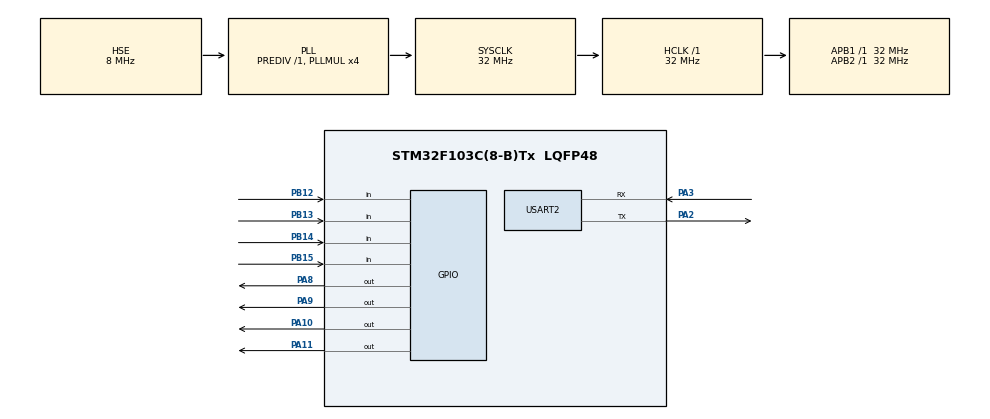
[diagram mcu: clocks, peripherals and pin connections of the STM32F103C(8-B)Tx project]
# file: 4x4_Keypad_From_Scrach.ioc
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Dma.Request0=USART2_RX
Dma.Request1=USART2_TX
Dma.USART2_RX.0.Direction=DMA_PERIPH_TO_MEMORY
Dma.USART2_RX.0.Instance=DMA1_Channel6
Dma.USART2_RX.0.MemDataAlignment=DMA_MDATAALIGN_BYTE
Dma.USART2_RX.0.MemInc=DMA_MINC_ENABLE
Dma.USART2_RX.0.Mode=DMA_NORMAL
Dma.USART2_RX.0.PeriphDataAlignment=DMA_PDATAALIGN_BYTE
Dma.USART2_RX.0.PeriphInc=DMA_PINC_DISABLE
Dma.USART2_RX.0.Priority=DMA_PRIORITY_LOW
Dma.USART2_TX.1.Direction=DMA_MEMORY_TO_PERIPH
Dma.USART2_TX.1.Instance=DMA1_Channel7
Dma.USART2_TX.1.MemDataAlignment=DMA_MDATAALIGN_BYTE
Dma.USART2_TX.1.MemInc=DMA_MINC_ENABLE
Dma.USART2_TX.1.Mode=DMA_NORMAL
Dma.USART2_TX.1.PeriphDataAlignment=DMA_PDATAALIGN_BYTE
Dma.USART2_TX.1.PeriphInc=DMA_PINC_DISABLE
Dma.USART2_TX.1.Priority=DMA_PRIORITY_LOW
Mcu.Family=STM32F1
Mcu.Name=STM32F103C(8-B)Tx
Mcu.Package=LQFP48
NVIC.DMA1_Channel6_IRQn=true\:0\:0\:false\:false\:true\:false\:true
NVIC.DMA1_Channel7_IRQn=true\:0\:0\:false\:false\:true\:false\:true
NVIC.PriorityGroup=NVIC_PRIORITYGROUP_4
PA10.PinState=GPIO_PIN_SET
PA10.Signal=GPIO_Output
PA11.PinState=GPIO_PIN_SET
PA11.Signal=GPIO_Output
PA13.Mode=Serial_Wire
PA13.Signal=SYS_JTMS-SWDIO
PA14.Mode=Serial_Wire
PA14.Signal=SYS_JTCK-SWCLK
PA2.Mode=Asynchronous
PA2.Signal=USART2_TX
PA3.Mode=Asynchronous
PA3.Signal=USART2_RX
PA8.PinState=GPIO_PIN_SET
PA8.Signal=GPIO_Output
PA9.PinState=GPIO_PIN_SET
PA9.Signal=GPIO_Output
PB12.GPIO_PuPd=GPIO_PULLUP
PB12.Signal=GPIO_Input
PB13.GPIO_PuPd=GPIO_PULLUP
PB13.Signal=GPIO_Input
PB14.GPIO_PuPd=GPIO_PULLUP
PB14.Signal=GPIO_Input
PB15.GPIO_PuPd=GPIO_PULLUP
PB15.Signal=GPIO_Input
PD0-OSC_IN.Mode=HSE-External-Oscillator
PD0-OSC_IN.Signal=RCC_OSC_IN
PD1-OSC_OUT.Mode=HSE-External-Oscillator
PD1-OSC_OUT.Signal=RCC_OSC_OUT
ProjectManager.HeapSize=0x200
ProjectManager.StackSize=0x400
ProjectManager.TargetToolchain=MDK-ARM V5.27
RCC.AHBFreq_Value=32000000
RCC.APB1Freq_Value=32000000
RCC.APB1TimFreq_Value=32000000
RCC.APB2Freq_Value=32000000
RCC.APB2TimFreq_Value=32000000
RCC.HCLKFreq_Value=32000000
RCC.PLLMUL=RCC_PLL_MUL4
RCC.PLLSourceVirtual=RCC_PLLSOURCE_HSE
RCC.SYSCLKFreq_VALUE=32000000
RCC.SYSCLKSource=RCC_SYSCLKSOURCE_PLLCLK
RCC.USBFreq_Value=32000000
USART2.VirtualMode=VM_ASYNC
board=custom

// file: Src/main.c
/* USER CODE BEGIN Header */
/**
  ******************************************************************************
  * @file           : main.c
  * @brief          : Main program body
  ******************************************************************************
  * @attention
  *
  * <h2><center>&copy; Copyright (c) 2020 STMicroelectronics.
  * All rights reserved.</center></h2>
  *
  * This software component is licensed by ST under BSD 3-Clause license,
  * the "License"; You may not use this file except in compliance with the
  * License. You may obtain a copy of the License at:
  *                        opensource.org/licenses/BSD-3-Clause
  *
  ******************************************************************************
  */
/* USER CODE END Header */

#include "main.h"

UART_HandleTypeDef huart2;
DMA_HandleTypeDef hdma_usart2_rx;
DMA_HandleTypeDef hdma_usart2_tx;

void SystemClock_Config(void);
static void MX_GPIO_Init(void);
static void MX_DMA_Init(void);
static void MX_USART2_UART_Init(void);

/* USER CODE BEGIN 0 */
	uint8_t Num[16];

/* USER CODE END 0 */

int main(void)
{

  /* MCU Configuration--------------------------------------------------------*/

  /* Reset of all peripherals, Initializes the Flash interface and the Systick. */
  HAL_Init();

  /* Configure the system clock */
  SystemClock_Config();

  /* Initialize all configured peripherals */
  MX_GPIO_Init();
  MX_DMA_Init();
  MX_USART2_UART_Init();

  /* Infinite loop */
  while (1)
  {

    /* USER CODE BEGIN 3 */
		HAL_GPIO_WritePin(GPIOA, GPIO_PIN_8, GPIO_PIN_RESET);
		if(!(HAL_GPIO_ReadPin(GPIOB, GPIO_PIN_12)))
		{
			HAL_Delay(250);
			Num[0] = 0x01;

		}
		if(!(HAL_GPIO_ReadPin(GPIOB, GPIO_PIN_13)))
		{
			HAL_Delay(250);
			Num[1] = 0x05;

		}
		if(!(HAL_GPIO_ReadPin(GPIOB, GPIO_PIN_14)))
		{
			HAL_Delay(250);
			Num[2] = 0x09;

		}
		if(!(HAL_GPIO_ReadPin(GPIOB, GPIO_PIN_15)))
		{
			HAL_Delay(250);
			Num[3] = 0x0D;

		}
		HAL_GPIO_WritePin(GPIOA, GPIO_PIN_8, GPIO_PIN_SET);
		HAL_GPIO_WritePin(GPIOA, GPIO_PIN_9, GPIO_PIN_RESET);
		if(!(HAL_GPIO_ReadPin(GPIOB, GPIO_PIN_12)))
		{
			HAL_Delay(250);
			Num[4] = 0x02;

		}
		if(!(HAL_GPIO_ReadPin(GPIOB, GPIO_PIN_13)))
		{
			HAL_Delay(250);
			Num[5] = 0x06;

		}
		if(!(HAL_GPIO_ReadPin(GPIOB, GPIO_PIN_14)))
		{
			HAL_Delay(250);
			Num[6] = 0x0A;

		}
		if(!(HAL_GPIO_ReadPin(GPIOB, GPIO_PIN_15)))
		{
			HAL_Delay(250);
			Num[7] = 0x2A;

		}
		HAL_GPIO_WritePin(GPIOA, GPIO_PIN_9, GPIO_PIN_SET);
		HAL_GPIO_WritePin(GPIOA, GPIO_PIN_10, GPIO_PIN_RESET);
		if(!(HAL_GPIO_ReadPin(GPIOB, GPIO_PIN_12)))
		{
			HAL_Delay(250);
			Num[8] = 0x03;

		}
		if(!(HAL_GPIO_ReadPin(GPIOB, GPIO_PIN_13)))
		{
			HAL_Delay(250);
			Num[9] = 0x07;

		}
		if(!(HAL_GPIO_ReadPin(GPIOB, GPIO_PIN_14)))
		{
			HAL_Delay(250);
			Num[10] = 0x0B;

		}
		if(!(HAL_GPIO_ReadPin(GPIOB, GPIO_PIN_15)))
		{
			HAL_Delay(250);
			Num[11] = 0x23;

		}
		HAL_GPIO_WritePin(GPIOA, GPIO_PIN_10, GPIO_PIN_SET);
		HAL_GPIO_WritePin(GPIOA, GPIO_PIN_11, GPIO_PIN_RESET);
		if(!(HAL_GPIO_ReadPin(GPIOB, GPIO_PIN_12)))
		{
			HAL_Delay(250);
			Num[12] = 0x04;

		}
		if(!(HAL_GPIO_ReadPin(GPIOB, GPIO_PIN_13)))
		{
			HAL_Delay(250);
			Num[13] = 0x08;

		}
		if(!(HAL_GPIO_ReadPin(GPIOB, GPIO_PIN_14)))
		{
			HAL_Delay(250);
			Num[14] = 0x0C;

		}
		if(!(HAL_GPIO_ReadPin(GPIOB, GPIO_PIN_15)))
		{
			HAL_Delay(250);
			Num[15] = 0x00;

		}
		HAL_GPIO_WritePin(GPIOA, GPIO_PIN_11, GPIO_PIN_SET);
		HAL_UART_Transmit_DMA( &huart2 , Num, 16);
		HAL_Delay(250);
		for(uint8_t i=0; i<16; i++){
		Num[i] = 0x00;

		}

	}
  /* USER CODE END 3 */
}

void SystemClock_Config(void)
{
  RCC_OscInitTypeDef RCC_OscInitStruct = {0};
  RCC_ClkInitTypeDef RCC_ClkInitStruct = {0};

  /** Initializes the CPU, AHB and APB busses clocks
  */
  RCC_OscInitStruct.OscillatorType = RCC_OSCILLATORTYPE_HSE;
  RCC_OscInitStruct.HSEState = RCC_HSE_ON;
  RCC_OscInitStruct.HSEPredivValue = RCC_HSE_PREDIV_DIV1;
  RCC_OscInitStruct.HSIState = RCC_HSI_ON;
  RCC_OscInitStruct.PLL.PLLState = RCC_PLL_ON;
  RCC_OscInitStruct.PLL.PLLSource = RCC_PLLSOURCE_HSE;
  RCC_OscInitStruct.PLL.PLLMUL = RCC_PLL_MUL4;
  if (HAL_RCC_OscConfig(&RCC_OscInitStruct) != HAL_OK)
  {
    Error_Handler();
  }
  /** Initializes the CPU, AHB and APB busses clocks
  */
  RCC_ClkInitStruct.ClockType = RCC_CLOCKTYPE_HCLK|RCC_CLOCKTYPE_SYSCLK
                              |RCC_CLOCKTYPE_PCLK1|RCC_CLOCKTYPE_PCLK2;
  RCC_ClkInitStruct.SYSCLKSource = RCC_SYSCLKSOURCE_PLLCLK;
  RCC_ClkInitStruct.AHBCLKDivider = RCC_SYSCLK_DIV1;
  RCC_ClkInitStruct.APB1CLKDivider = RCC_HCLK_DIV1;
  RCC_ClkInitStruct.APB2CLKDivider = RCC_HCLK_DIV1;

  if (HAL_RCC_ClockConfig(&RCC_ClkInitStruct, FLASH_LATENCY_1) != HAL_OK)
  {
    Error_Handler();
  }
}

static void MX_USART2_UART_Init(void)
{

  huart2.Instance = USART2;
  huart2.Init.BaudRate = 115200;
  huart2.Init.WordLength = UART_WORDLENGTH_8B;
  huart2.Init.StopBits = UART_STOPBITS_1;
  huart2.Init.Parity = UART_PARITY_NONE;
  huart2.Init.Mode = UART_MODE_TX_RX;
  huart2.Init.HwFlowCtl = UART_HWCONTROL_NONE;
  huart2.Init.OverSampling = UART_OVERSAMPLING_16;
  if (HAL_UART_Init(&huart2) != HAL_OK)
  {
    Error_Handler();
  }

}

static void MX_DMA_Init(void)
{

  /* DMA controller clock enable */
  __HAL_RCC_DMA1_CLK_ENABLE();

  /* DMA interrupt init */
  /* DMA1_Channel6_IRQn interrupt configuration */
  HAL_NVIC_SetPriority(DMA1_Channel6_IRQn, 0, 0);
  HAL_NVIC_EnableIRQ(DMA1_Channel6_IRQn);
  /* DMA1_Channel7_IRQn interrupt configuration */
  HAL_NVIC_SetPriority(DMA1_Channel7_IRQn, 0, 0);
  HAL_NVIC_EnableIRQ(DMA1_Channel7_IRQn);

}

static void MX_GPIO_Init(void)
{
  GPIO_InitTypeDef GPIO_InitStruct = {0};

  /* GPIO Ports Clock Enable */
  __HAL_RCC_GPIOD_CLK_ENABLE();
  __HAL_RCC_GPIOA_CLK_ENABLE();
  __HAL_RCC_GPIOB_CLK_ENABLE();

  /*Configure GPIO pin Output Level */
  HAL_GPIO_WritePin(GPIOA, GPIO_PIN_8|GPIO_PIN_9|GPIO_PIN_10|GPIO_PIN_11, GPIO_PIN_SET);

  /*Configure GPIO pins : PB12 PB13 PB14 PB15 */
  GPIO_InitStruct.Pin = GPIO_PIN_12|GPIO_PIN_13|GPIO_PIN_14|GPIO_PIN_15;
  GPIO_InitStruct.Mode = GPIO_MODE_INPUT;
  GPIO_InitStruct.Pull = GPIO_PULLUP;
  HAL_GPIO_Init(GPIOB, &GPIO_InitStruct);

  /*Configure GPIO pins : PA8 PA9 PA10 PA11 */
  GPIO_InitStruct.Pin = GPIO_PIN_8|GPIO_PIN_9|GPIO_PIN_10|GPIO_PIN_11;
  GPIO_InitStruct.Mode = GPIO_MODE_OUTPUT_PP;
  GPIO_InitStruct.Pull = GPIO_NOPULL;
  GPIO_InitStruct.Speed = GPIO_SPEED_FREQ_LOW;
  HAL_GPIO_Init(GPIOA, &GPIO_InitStruct);

}

void Error_Handler(void)
{
}

/************************ (C) COPYRIGHT STMicroelectronics *****END OF FILE****/
